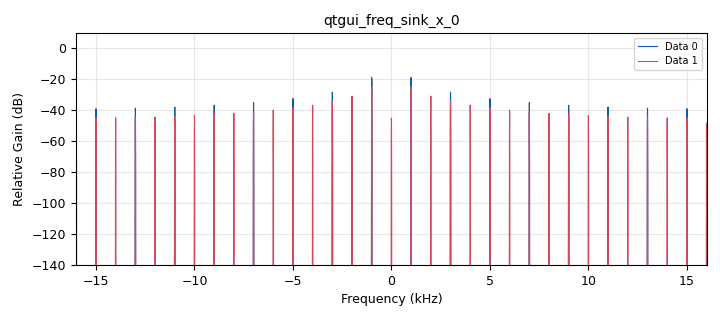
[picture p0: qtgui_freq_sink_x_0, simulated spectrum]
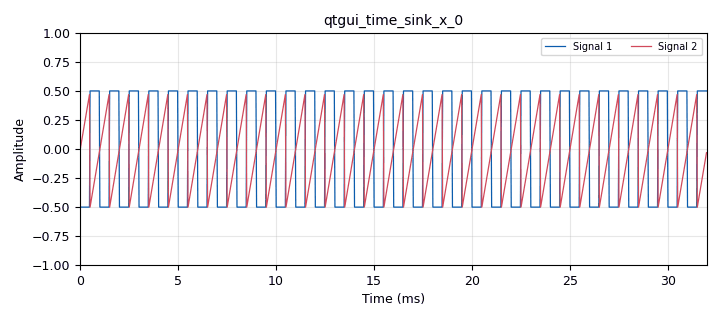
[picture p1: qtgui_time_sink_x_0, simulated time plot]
options:
  parameters:
    generate_options: qt_gui
    id: example003
    output_language: python
    title: example003
  states: {}

blocks:
- name: f0
  id: variable_qtgui_range
  parameters:
    orient: Qt.Horizontal
    start: '-5e3'
    step: '1'
    stop: 5e3
    value: 1e3
  states: {}
- name: offset
  id: variable_qtgui_range
  parameters:
    orient: Qt.Horizontal
    start: '-1'
    step: '0.01'
    stop: '1'
    value: '-0.5'
  states: {}
- name: samp_rate
  id: variable
  parameters:
    value: '32000'
  states: {}
- name: waveform
  id: variable_qtgui_chooser
  parameters:
    label0: Cosine
    label1: Rectangular
    label2: Triangular
    num_opts: '3'
    option1: '103'
    option2: '104'
    type: int
    value: '103'
  states: {}
- name: analog_sig_source_x_0
  id: analog_sig_source_x
  parameters:
    amp: '1'
    freq: f0
    offset: offset
    phase: '0'
    samp_rate: samp_rate
    type: complex
    waveform: waveform
  states: {state: disabled}
- name: analog_sig_source_x_1
  id: analog_sig_source_x
  parameters:
    amp: '1'
    freq: f0
    offset: offset
    phase: '0'
    samp_rate: samp_rate
    type: float
    waveform: waveform
  states: {}
- name: analog_sig_source_x_1_0
  id: analog_sig_source_x
  parameters:
    amp: '1'
    freq: f0
    offset: offset
    phase: '0'
    samp_rate: samp_rate
    type: float
    waveform: analog.GR_SAW_WAVE
  states: {}
- name: blocks_throttle_0
  id: blocks_throttle
  parameters:
    samples_per_second: samp_rate
    type: float
  states: {}
- name: qtgui_freq_sink_x_0
  id: qtgui_freq_sink_x
  parameters:
    bw: samp_rate
    fc: '0'
    fftsize: 1024*8
    nconnections: '2'
    type: float
    wintype: firdes.WIN_BLACKMAN_hARRIS
  states: {}
- name: qtgui_time_sink_x_0
  id: qtgui_time_sink_x
  parameters:
    nconnections: '2'
    size: '1024'
    srate: samp_rate
    type: float
  states: {}

connections:
- [analog_sig_source_x_0, '0', blocks_throttle_0, '0']
- [analog_sig_source_x_1, '0', blocks_throttle_0, '0']
- [analog_sig_source_x_1_0, '0', qtgui_freq_sink_x_0, '1']
- [analog_sig_source_x_1_0, '0', qtgui_time_sink_x_0, '1']
- [blocks_throttle_0, '0', qtgui_freq_sink_x_0, '0']
- [blocks_throttle_0, '0', qtgui_time_sink_x_0, '0']

metadata:
  file_format: 1
